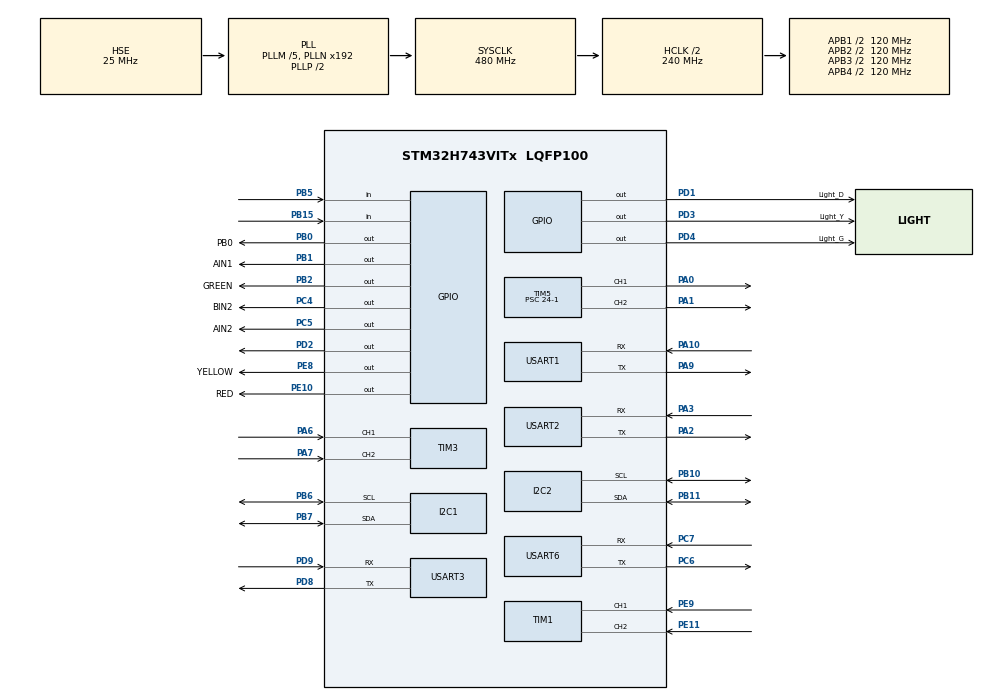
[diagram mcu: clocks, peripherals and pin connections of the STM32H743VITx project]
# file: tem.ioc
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CORTEX_M7.AccessPermission-Cortex_Memory_Protection_Unit_Region0_Settings=MPU_REGION_FULL_ACCESS
CORTEX_M7.AccessPermission-Cortex_Memory_Protection_Unit_Region1_Settings=MPU_REGION_FULL_ACCESS
CORTEX_M7.AccessPermission-Cortex_Memory_Protection_Unit_Region2_Settings=MPU_REGION_FULL_ACCESS
CORTEX_M7.AccessPermission-Cortex_Memory_Protection_Unit_Region3_Settings=MPU_REGION_FULL_ACCESS
CORTEX_M7.AccessPermission-Cortex_Memory_Protection_Unit_Region4_Settings=MPU_REGION_FULL_ACCESS
CORTEX_M7.BaseAddress-Cortex_Memory_Protection_Unit_Region0_Settings=0x24000000
CORTEX_M7.BaseAddress-Cortex_Memory_Protection_Unit_Region1_Settings=0x30000000
CORTEX_M7.BaseAddress-Cortex_Memory_Protection_Unit_Region2_Settings=0x30020000
CORTEX_M7.BaseAddress-Cortex_Memory_Protection_Unit_Region3_Settings=0x30040000
CORTEX_M7.BaseAddress-Cortex_Memory_Protection_Unit_Region4_Settings=0x38000000
CORTEX_M7.CPU_DCache=Enabled
CORTEX_M7.CPU_ICache=Enabled
CORTEX_M7.Enable-Cortex_Memory_Protection_Unit_Region0_Settings=MPU_REGION_ENABLE
CORTEX_M7.Enable-Cortex_Memory_Protection_Unit_Region1_Settings=MPU_REGION_ENABLE
CORTEX_M7.Enable-Cortex_Memory_Protection_Unit_Region2_Settings=MPU_REGION_ENABLE
CORTEX_M7.Enable-Cortex_Memory_Protection_Unit_Region3_Settings=MPU_REGION_ENABLE
CORTEX_M7.Enable-Cortex_Memory_Protection_Unit_Region4_Settings=MPU_REGION_ENABLE
CORTEX_M7.IsBufferable-Cortex_Memory_Protection_Unit_Region0_Settings=MPU_ACCESS_BUFFERABLE
CORTEX_M7.IsCacheable-Cortex_Memory_Protection_Unit_Region0_Settings=MPU_ACCESS_CACHEABLE
CORTEX_M7.MPU_Control=MPU_PRIVILEGED_DEFAULT
CORTEX_M7.Size-Cortex_Memory_Protection_Unit_Region0_Settings=MPU_REGION_SIZE_512KB
CORTEX_M7.Size-Cortex_Memory_Protection_Unit_Region1_Settings=MPU_REGION_SIZE_128KB
CORTEX_M7.Size-Cortex_Memory_Protection_Unit_Region2_Settings=MPU_REGION_SIZE_128KB
CORTEX_M7.Size-Cortex_Memory_Protection_Unit_Region3_Settings=MPU_REGION_SIZE_32KB
CORTEX_M7.Size-Cortex_Memory_Protection_Unit_Region4_Settings=MPU_REGION_SIZE_64KB
CORTEX_M7.TypeExtField-Cortex_Memory_Protection_Unit_Region0_Settings=MPU_TEX_LEVEL1
CORTEX_M7.TypeExtField-Cortex_Memory_Protection_Unit_Region1_Settings=MPU_TEX_LEVEL1
CORTEX_M7.TypeExtField-Cortex_Memory_Protection_Unit_Region2_Settings=MPU_TEX_LEVEL1
CORTEX_M7.TypeExtField-Cortex_Memory_Protection_Unit_Region3_Settings=MPU_TEX_LEVEL1
CORTEX_M7.TypeExtField-Cortex_Memory_Protection_Unit_Region4_Settings=MPU_TEX_LEVEL1
I2C1.Timing=0x307075B1
I2C2.Timing=0x307075B1
Mcu.Family=STM32H7
Mcu.Name=STM32H743VITx
Mcu.Package=LQFP100
NVIC.PriorityGroup=NVIC_PRIORITYGROUP_4
NVIC.TIM1_UP_IRQn=true\:0\:0\:false\:false\:true\:true\:true\:true
NVIC.TIM3_IRQn=true\:0\:0\:false\:false\:true\:true\:true\:true
NVIC.TIM7_IRQn=true\:0\:0\:false\:false\:true\:true\:true\:true
NVIC.USART1_IRQn=true\:0\:0\:false\:false\:true\:true\:true\:true
NVIC.USART2_IRQn=true\:0\:0\:false\:false\:true\:true\:true\:true
NVIC.USART3_IRQn=true\:0\:0\:false\:false\:true\:true\:true\:true
NVIC.USART6_IRQn=true\:0\:0\:false\:false\:true\:true\:true\:true
PA0.Signal=S_TIM5_CH1
PA1.Signal=S_TIM5_CH2
PA10.Mode=Asynchronous
PA10.Signal=USART1_RX
PA13\ (JTMS/SWDIO).Mode=Serial_Wire
PA13\ (JTMS/SWDIO).Signal=DEBUG_JTMS-SWDIO
PA14\ (JTCK/SWCLK).Mode=Serial_Wire
PA14\ (JTCK/SWCLK).Signal=DEBUG_JTCK-SWCLK
PA2.Mode=Asynchronous
PA2.Signal=USART2_TX
PA3.Mode=Asynchronous
PA3.Signal=USART2_RX
PA6.Signal=S_TIM3_CH1
PA7.Signal=S_TIM3_CH2
PA9.Mode=Asynchronous
PA9.Signal=USART1_TX
PB0.GPIO_Label=PB0
PB0.Signal=GPIO_Output
PB1.GPIO_Label=AIN1
PB1.Signal=GPIO_Output
PB10.Mode=I2C
PB10.Signal=I2C2_SCL
PB11.Mode=I2C
PB11.Signal=I2C2_SDA
PB15.Signal=GPIO_Input
PB2.GPIO_Label=GREEN
PB2.Signal=GPIO_Output
PB5.Signal=GPIO_Input
PB6.Mode=I2C
PB6.Signal=I2C1_SCL
PB7.Mode=I2C
PB7.Signal=I2C1_SDA
PC4.GPIO_Label=BIN2
PC4.Signal=GPIO_Output
PC5.GPIO_Label=AIN2
PC5.Signal=GPIO_Output
PC6.Mode=Asynchronous
PC6.Signal=USART6_TX
PC7.Mode=Asynchronous
PC7.Signal=USART6_RX
PD1.GPIO_Label=Light_D
PD1.Signal=GPIO_Output
PD2.Signal=GPIO_Output
PD3.GPIO_Label=Light_Y
PD3.Signal=GPIO_Output
PD4.GPIO_Label=Light_G
PD4.Signal=GPIO_Output
PD8.Mode=Asynchronous
PD8.Signal=USART3_TX
PD9.Mode=Asynchronous
PD9.Signal=USART3_RX
PE10.GPIO_Label=RED
PE10.Signal=GPIO_Output
PE11.Signal=S_TIM1_CH2
PE8.GPIO_Label=YELLOW
PE8.Signal=GPIO_Output
PE9.Signal=S_TIM1_CH1
PH0-OSC_IN\ (PH0).Mode=HSE-External-Oscillator
PH0-OSC_IN\ (PH0).Signal=RCC_OSC_IN
PH1-OSC_OUT\ (PH1).Mode=HSE-External-Oscillator
PH1-OSC_OUT\ (PH1).Signal=RCC_OSC_OUT
ProjectManager.HeapSize=0x10000
ProjectManager.StackSize=0x7400
ProjectManager.TargetToolchain=MDK-ARM V5.32
RCC.ADCFreq_Value=50390625
RCC.APB1Freq_Value=120000000
RCC.APB2Freq_Value=120000000
RCC.APB3Freq_Value=120000000
RCC.APB4Freq_Value=120000000
RCC.CortexFreq_Value=480000000
RCC.D1PPRE=RCC_APB3_DIV2
RCC.D2PPRE1=RCC_APB1_DIV2
RCC.D2PPRE2=RCC_APB2_DIV2
RCC.D3PPRE=RCC_APB4_DIV2
RCC.DIVM1=5
RCC.DIVN1=192
RCC.HCLKFreq_Value=240000000
RCC.HPRE=RCC_HCLK_DIV2
RCC.HSE_VALUE=25000000
RCC.PLLSourceVirtual=RCC_PLLSOURCE_HSE
RCC.PWR_Regulator_Voltage_Scale=PWR_REGULATOR_VOLTAGE_SCALE0
RCC.ProductRev=revV
RCC.SYSCLKFreq_VALUE=480000000
RCC.SYSCLKSource=RCC_SYSCLKSOURCE_PLLCLK
RCC.USBFreq_Value=480000000
SH.S_TIM1_CH1.0=TIM1_CH1,Encoder_Interface
SH.S_TIM1_CH2.0=TIM1_CH2,Encoder_Interface
SH.S_TIM3_CH1.0=TIM3_CH1,Encoder_Interface
SH.S_TIM3_CH2.0=TIM3_CH2,Encoder_Interface
SH.S_TIM5_CH1.0=TIM5_CH1,PWM Generation1 CH1
SH.S_TIM5_CH2.0=TIM5_CH2,PWM Generation2 CH2
TIM5.Channel-PWM\ Generation1\ CH1=TIM_CHANNEL_1
TIM5.Channel-PWM\ Generation2\ CH2=TIM_CHANNEL_2
TIM5.Period=1000-1
TIM5.Prescaler=24-1
TIM6.Prescaler=240-1
TIM7.Prescaler=239
USART1.VirtualMode-Asynchronous=VM_ASYNC
USART2.VirtualMode-Asynchronous=VM_ASYNC
USART3.VirtualMode-Asynchronous=VM_ASYNC
USART6.VirtualMode=VM_ASYNC
VP_TIM5_VS_ClockSourceINT.Mode=Internal
VP_TIM6_VS_ClockSourceINT.Mode=Enable_Timer
VP_TIM7_VS_ClockSourceINT.Mode=Enable_Timer
board=custom

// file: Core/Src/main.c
/* USER CODE BEGIN Header */
/**
  ******************************************************************************
  * @file           : main.c
  * @brief          : Main program body
  ******************************************************************************
  * @attention
  *
  * Copyright (c) 2025 STMicroelectronics.
  * All rights reserved.
  *
  * This software is licensed under terms that can be found in the LICENSE file
  * in the root directory of this software component.
  * If no LICENSE file comes with this software, it is provided AS-IS.
  *
  ******************************************************************************
  */
/* USER CODE END Header */
#include "main.h"
#include "i2c.h"
#include "tim.h"
#include "usart.h"
#include "gpio.h"

/* USER CODE BEGIN Includes */
#include "AllHeader.h"
#include "mode.h"
#include "visual.h"
/* USER CODE END Includes */

/* USER CODE BEGIN PV */
// MS601M 传感器数据结构体
atk_ms601m_attitude_data_t attitude_dat;
atk_ms601m_gyro_data_t gyro_dat;
atk_ms601m_accelerometer_data_t accelerometer_dat;
char message[256];

//感为传感器数据变量
int Digtal[8];

MODE mode = {WAIT_MODE}; // 初始化模式为送药模式，位置为零
short drug_change = 1;
//用于标记是否需要进行药物模式的转化，
//只有在最开始的时候是1，以及在最后程序停止的时候是1，中间为0，即中间不需要检测是否装药
uint32_t mode_begin_t = 0;//记录模式开始的时间
char command_From_Bluetooth = 0; // 用于存储蓝牙接收到的命令

//测量过的转弯参数
const float r = 0.17;
const float tel = 26;

float current_yaw;//用于存储现在的yaw

const int back_delay = 300;//防止敲头，在后转之后停止一段时间
const float back_angle_cor = 10;//用于纠正陀螺仪的系统误差，当角度过小（逆时针不够很）

// 接收状态和缓冲区
uint8_t USART_RX_BUF[USART_RX_BUF_LEN] = {0};
// 真正接受数据的函数
uint8_t arr[25] = {0} ;
uint8_t USART_EYE_RX_BUF[USART_EYE_RX_LEN] = {0};
/* USER CODE END PV */

void SystemClock_Config(void);
static void MPU_Initialize(void);
static void MPU_Config(void);
/* USER CODE BEGIN PFP */
bool CheckAndTurn(void);
bool CheckAndEnd(void);
/* USER CODE END PFP */

int main(void)
{

  /* Enable I-Cache---------------------------------------------------------*/
  SCB_EnableICache();

  /* Enable D-Cache---------------------------------------------------------*/
  SCB_EnableDCache();

  /* MCU Configuration--------------------------------------------------------*/

  /* Reset of all peripherals, Initializes the Flash interface and the Systick. */
  HAL_Init();

  /* MPU Configuration--------------------------------------------------------*/
  MPU_Config();

  /* Configure the system clock */
  SystemClock_Config();

  /* Initialize all configured peripherals */
  MX_GPIO_Init();
  MX_TIM7_Init();
  MX_USART1_UART_Init();
  MX_TIM1_Init();
  MX_TIM3_Init();
  MX_TIM5_Init();
  MX_TIM6_Init();
  MX_USART2_UART_Init();
  MX_USART3_UART_Init();
  MX_I2C1_Init();
  MX_USART6_UART_Init();
  MX_I2C2_Init();
  /* USER CODE BEGIN 2 */
	//陀螺仪初始化
	atk_ms601m_init(115200);

	mode.loc.n = 0;
	// 电机和编码器初始化
  Motor Left, Right;
	MEInit(&Left, &Right);

	// 接收中断初始化
  HAL_UARTEx_ReceiveToIdle_IT(&huart6, USART_RX_BUF, USART_RX_BUF_LEN);
  /* USER CODE END 2 */

  /* Infinite loop */
  /* USER CODE BEGIN WHILE */
  while (1)
  {
    IIC_Get_Digtal(Digtal); // 获取数字传感器数据,每一步都要执行以获取数据

    if(drug_change)
    {
      if(drugSet(&mode))// 进行药物模式的转化，如果转换成功进入if
      {
        drug_change = 0; // 转化完成后将标志位设为0
        mode_begin_t = HAL_GetTick(); // 记录模式开始的时间
      }
      continue; // 继续下一次循环
    }
    switch (mode.drug)
    {
      case WAIT_MODE:
        // 等待模式下的处理逻辑
        break;
      case PROPEL_MODE:
        if(command_From_Bluetooth != 'C')
        {
          if(!isWaitingLoc(mode.loc))
          {
            if(!CheckAndTurn())
              lineWalking(); // 进行循迹行走
          }
          else
          {
            if(!CheckAndEnd())
              lineWalking(); // 进行循迹行走
          }
        }
        else
        {
          if(isWaitingLoc(mode.loc))
          {
            if(!CheckAndTurn)
              Back(LocToTheta(mode.loc) + back_angle_cor); // 后退到上一个位置
          }
          else if(isEndOfWay(mode.loc)) //如果是除零点以外的终点
          {
            if(!CheckAndEnd())
              lineWalking(); // 进行循迹行走
          }
          else // 如果不是终点
          {
            if(!CheckAndTurn()) // 检查是否需要结束当前模式
              lineWalking(); // 进行循迹行走
          }
        }
        break;
      default:
        // 未知模式的处理逻辑
        break;
    }
    /* USER CODE END WHILE */

  }
}

void SystemClock_Config(void)
{
  RCC_OscInitTypeDef RCC_OscInitStruct = {0};
  RCC_ClkInitTypeDef RCC_ClkInitStruct = {0};

  /** Supply configuration update enable
  */
  HAL_PWREx_ConfigSupply(PWR_LDO_SUPPLY);

  /** Configure the main internal regulator output voltage
  */
  __HAL_PWR_VOLTAGESCALING_CONFIG(PWR_REGULATOR_VOLTAGE_SCALE1);

  while(!__HAL_PWR_GET_FLAG(PWR_FLAG_VOSRDY)) {}

  __HAL_RCC_SYSCFG_CLK_ENABLE();
  __HAL_PWR_VOLTAGESCALING_CONFIG(PWR_REGULATOR_VOLTAGE_SCALE0);

  while(!__HAL_PWR_GET_FLAG(PWR_FLAG_VOSRDY)) {}

  /** Initializes the RCC Oscillators according to the specified parameters
  * in the RCC_OscInitTypeDef structure.
  */
  RCC_OscInitStruct.OscillatorType = RCC_OSCILLATORTYPE_HSE;
  RCC_OscInitStruct.HSEState = RCC_HSE_ON;
  RCC_OscInitStruct.PLL.PLLState = RCC_PLL_ON;
  RCC_OscInitStruct.PLL.PLLSource = RCC_PLLSOURCE_HSE;
  RCC_OscInitStruct.PLL.PLLM = 5;
  RCC_OscInitStruct.PLL.PLLN = 192;
  RCC_OscInitStruct.PLL.PLLP = 2;
  RCC_OscInitStruct.PLL.PLLQ = 2;
  RCC_OscInitStruct.PLL.PLLR = 2;
  RCC_OscInitStruct.PLL.PLLRGE = RCC_PLL1VCIRANGE_2;
  RCC_OscInitStruct.PLL.PLLVCOSEL = RCC_PLL1VCOWIDE;
  RCC_OscInitStruct.PLL.PLLFRACN = 0;
  if (HAL_RCC_OscConfig(&RCC_OscInitStruct) != HAL_OK)
  {
    Error_Handler();
  }

  /** Initializes the CPU, AHB and APB buses clocks
  */
  RCC_ClkInitStruct.ClockType = RCC_CLOCKTYPE_HCLK|RCC_CLOCKTYPE_SYSCLK
                              |RCC_CLOCKTYPE_PCLK1|RCC_CLOCKTYPE_PCLK2
                              |RCC_CLOCKTYPE_D3PCLK1|RCC_CLOCKTYPE_D1PCLK1;
  RCC_ClkInitStruct.SYSCLKSource = RCC_SYSCLKSOURCE_PLLCLK;
  RCC_ClkInitStruct.SYSCLKDivider = RCC_SYSCLK_DIV1;
  RCC_ClkInitStruct.AHBCLKDivider = RCC_HCLK_DIV2;
  RCC_ClkInitStruct.APB3CLKDivider = RCC_APB3_DIV2;
  RCC_ClkInitStruct.APB1CLKDivider = RCC_APB1_DIV2;
  RCC_ClkInitStruct.APB2CLKDivider = RCC_APB2_DIV2;
  RCC_ClkInitStruct.APB4CLKDivider = RCC_APB4_DIV2;

  if (HAL_RCC_ClockConfig(&RCC_ClkInitStruct, FLASH_LATENCY_4) != HAL_OK)
  {
    Error_Handler();
  }
}

/* USER CODE BEGIN 4 */
//用于给陀螺仪提供1us的定时
void delay_us_hal(uint16_t nus)
{
    __HAL_TIM_SET_COUNTER(&htim6, 0);
    HAL_TIM_Base_Start(&htim6);
    while (__HAL_TIM_GET_COUNTER(&htim6) < nus);
    HAL_TIM_Base_Stop(&htim6);
}

// 定时器中断回调函数，用于更新编码器速度
void HAL_TIM_PeriodElapsedCallback(TIM_HandleTypeDef *htim)
{
    // 更新所有编码器的速度数据
    UpdateAllSpeed(htim);
}

bool CheckAndTurn()//所有check和turn函数都调用了dirget，在dirget中更新了mode.loc.trace和mode.loc.n
{
  if(HAL_GetTick() - mode_begin_t > 1000)
  {
    if(cross_Roads_Detect())
    {
      switch(DirGet(&mode)) // 获取下一个方向
      {
				case BACKWARD://在第二题会用到，目前不会用到
        case FORWARD:
          return true; // 继续前进
        case LEFT:
					current_yaw = getYaw();
          while(!isInTheYaw(sumTheta(current_yaw, 90), tel)) {runCircle(r, 0.5, 90, LEFT); HAL_Delay(10);}
          Break();
          return true; // 继续前进
        case RIGHT:
					current_yaw = getYaw();
          while(!isInTheYaw(sumTheta(current_yaw, -90), tel)){runCircle(r, 0.5, 90, RIGHT); HAL_Delay(10);}
          Break();
          return true; // 继续前进
      }
    }
  }
  return false; // 没有需要转向的情况
}
bool CheckAndEnd()
{
  if(half_Detect())
  {
    Break();
    drug_change = 1; // 设置标志位为1，表示需要进行药物模式的转化
    return true; // 需要结束当前模式
  }
  return false; // 没有需要结束的情况
}

void HAL_UARTEx_RxEventCallback(UART_HandleTypeDef *huart, uint16_t Size)
{
  if (huart->Instance == USART6)
  {
	  int j = 0 ;
	  for ( j = 0 ; j < Size ; j ++ )
	  {
		  arr[j] = USART_EYE_RX_BUF[j] ;
	  }

	  /*
	  核心函数,如下:
	  */

	 // 设置房间存储数组
	  setRoomArray() ;
	  SampleGoalNumFromArr(arr) ;
	  control() ;

    // 2.使用字符串匹配代替固定长度检查

	// 3. 发送回显（添加\r\n+正确长度+状态检查）
    const char *echo_str = "get!"; // 不换行的回显字符串
    uint16_t echo_len = strlen(echo_str); // 计算长度

    if (huart6.gState == HAL_UART_STATE_READY)
	{
      HAL_UART_Transmit_IT(&huart6, (uint8_t *)echo_str, echo_len); // 检查UART是否就绪
    }

    // 4.重启接收前清除缓存区
    memset(USART_EYE_RX_BUF, 0, USART_EYE_RX_LEN);

	// 再次接收
    HAL_UARTEx_ReceiveToIdle_IT(&huart6, USART_EYE_RX_BUF, USART_EYE_RX_LEN);
  }
}

/* USER CODE END 4 */

/* MPU Configuration */

void MPU_Config(void)
{
  MPU_Region_InitTypeDef MPU_InitStruct = {0};

  /* Disables the MPU */
  HAL_MPU_Disable();

  /** Initializes and configures the Region and the memory to be protected
  */
  MPU_InitStruct.Enable = MPU_REGION_ENABLE;
  MPU_InitStruct.Number = MPU_REGION_NUMBER0;
  MPU_InitStruct.BaseAddress = 0x24000000;
  MPU_InitStruct.Size = MPU_REGION_SIZE_512KB;
  MPU_InitStruct.SubRegionDisable = 0x0;
  MPU_InitStruct.TypeExtField = MPU_TEX_LEVEL1;
  MPU_InitStruct.AccessPermission = MPU_REGION_FULL_ACCESS;
  MPU_InitStruct.DisableExec = MPU_INSTRUCTION_ACCESS_ENABLE;
  MPU_InitStruct.IsShareable = MPU_ACCESS_NOT_SHAREABLE;
  MPU_InitStruct.IsCacheable = MPU_ACCESS_CACHEABLE;
  MPU_InitStruct.IsBufferable = MPU_ACCESS_BUFFERABLE;

  HAL_MPU_ConfigRegion(&MPU_InitStruct);

  /** Initializes and configures the Region and the memory to be protected
  */
  MPU_InitStruct.Number = MPU_REGION_NUMBER1;
  MPU_InitStruct.BaseAddress = 0x30000000;
  MPU_InitStruct.Size = MPU_REGION_SIZE_128KB;
  MPU_InitStruct.IsCacheable = MPU_ACCESS_NOT_CACHEABLE;
  MPU_InitStruct.IsBufferable = MPU_ACCESS_NOT_BUFFERABLE;

  HAL_MPU_ConfigRegion(&MPU_InitStruct);

  /** Initializes and configures the Region and the memory to be protected
  */
  MPU_InitStruct.Number = MPU_REGION_NUMBER2;
  MPU_InitStruct.BaseAddress = 0x30020000;

  HAL_MPU_ConfigRegion(&MPU_InitStruct);

  /** Initializes and configures the Region and the memory to be protected
  */
  MPU_InitStruct.Number = MPU_REGION_NUMBER3;
  MPU_InitStruct.BaseAddress = 0x30040000;
  MPU_InitStruct.Size = MPU_REGION_SIZE_32KB;

  HAL_MPU_ConfigRegion(&MPU_InitStruct);

  /** Initializes and configures the Region and the memory to be protected
  */
  MPU_InitStruct.Number = MPU_REGION_NUMBER4;
  MPU_InitStruct.BaseAddress = 0x38000000;
  MPU_InitStruct.Size = MPU_REGION_SIZE_64KB;

  HAL_MPU_ConfigRegion(&MPU_InitStruct);
  /* Enables the MPU */
  HAL_MPU_Enable(MPU_PRIVILEGED_DEFAULT);

}

void Error_Handler(void)
{
  __disable_irq();
  while (1)
  {
  }
}
